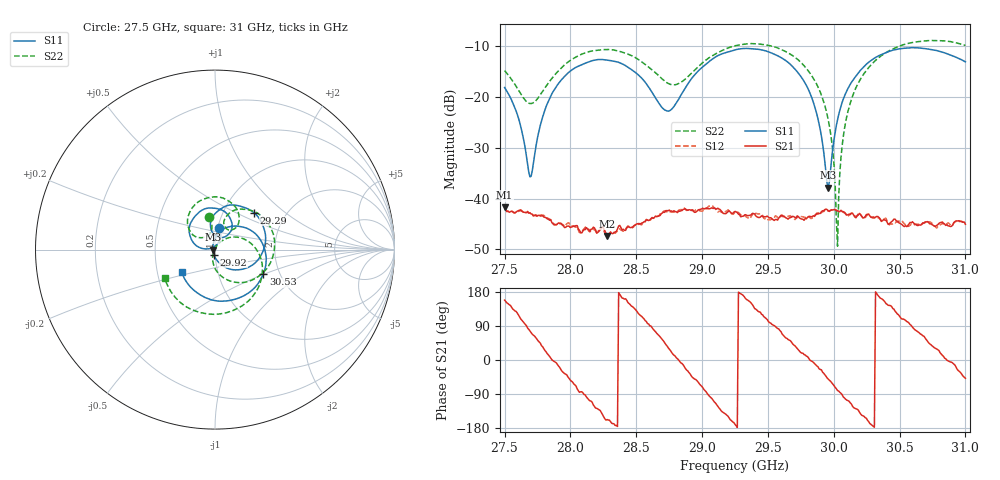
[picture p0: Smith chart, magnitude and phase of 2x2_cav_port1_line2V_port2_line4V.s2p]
!Created with skrf (http://scikit-rf.org).
# GHz S RI R 50.0
!freq ReS11 ImS11 ReS21 ImS21 ReS12 ImS12 ReS22 ImS22
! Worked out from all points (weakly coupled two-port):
!   401 points, 27.5 GHz to 31 GHz, reference 50 ohm
!   highest |S21| = -41.68 dB at 27.5 GHz (marker M1); lowest = -47.4 dB at 28.28 GHz (marker M2)
!   lowest |S11| = -37.8 dB at 29.96 GHz (marker M3), VSWR 1.03, Z = 48.7 + j0.00772 ohm
!   |S11| at or under -10 dB: start of sweep to end of sweep
!   |S22| runs from -49.4 to -8.8 dB; largest |S21 - S12| = 0.00072
!   S11 on the Smith chart (normalised r, x): 27.5 GHz: 1.02, +0.25; 29.29 GHz: 1.39, +0.63; 29.92 GHz: 0.98, -0.05; 30.53 GHz: 1.64, -0.49; 31 GHz: 0.67, -0.17
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27.5  0.0238 0.122  -0.00764 0.00309  -0.0075 0.00286  -0.0357 0.1789
27.59625  0.0293 0.0608  -0.00421 0.00623  -0.00416 0.00623  -0.0169 0.1214
27.70125  -0.0109 0.0125  0.0021 0.00673  0.00207 0.00675  -0.0449 0.0737
27.84125  -0.0954 0.0162  0.00603 0.00103  0.00622 0.000913  -0.1188 0.0786
28.08625  -0.1253 0.1665  0.00049 -0.00456  0.000684 -0.00463  -0.1273 0.2321
28.27875  -0.00821 0.231  -0.00394 -0.00166  -0.0038 -0.00175  0.00571 0.2943
28.6725  0.0517 0.0696  0.00295 0.00607  0.0028 0.00616  0.1105 0.1177
28.8125  -0.0109 0.0902  0.00726 0.000441  0.00742 0.000599  0.0597 0.1202
28.99625  -0.00564 0.1938  0.00282 -0.00738  0.00259 -0.00703  0.0763 0.1994
29.25  0.1819 0.2275  -0.00736 -0.00132  -0.00721 -0.00152  0.2595 0.1865
29.29375  0.2162 0.2066  -0.00659 0.000595  -0.00685 0.000839  0.2888 0.1558
29.635  0.2137 -0.0822  0.0034 0.00551  0.00332 0.00586  0.2337 -0.1551
29.83625  0.0398 -0.0874  0.00664 -0.000437  0.00643 -0.00027  0.0428 -0.1538
29.92375  -0.00733 -0.0278  0.00623 -0.00433  0.00616 -0.00419  -0.00592 -0.0895
29.95875  -0.0129 7.92e-05  0.00481 -0.00586  0.00491 -0.00581  -0.0129 -0.0578
30.02875  0.000143 0.0598  0.00126 -0.00747  0.00136 -0.00743  -0.00129 0.00315
30.0725  0.0213 0.0931  -0.000963 -0.00737  -0.000948 -0.00729  0.0217 0.0346
30.13375  0.0645 0.1233  -0.00315 -0.00643  -0.00306 -0.0065  0.0691 0.0641
30.4225  0.2812 -0.0177  -0.00458 0.00333  -0.00433 0.00343  0.2645 -0.1098
30.5275  0.2693 -0.1364  -0.00169 0.00511  -0.00174 0.00554  0.2292 -0.2341
30.755  0.0501 -0.2872  0.00447 0.00316  0.00468 0.00303  -0.0292 -0.3598
31  -0.1846 -0.1237  0.00372 -0.00417  0.00403 -0.00417  -0.2813 -0.1574
